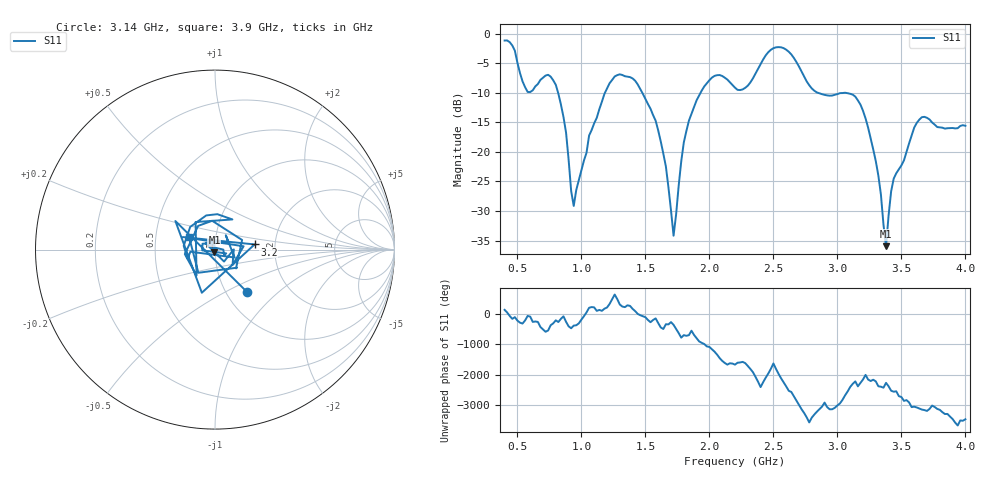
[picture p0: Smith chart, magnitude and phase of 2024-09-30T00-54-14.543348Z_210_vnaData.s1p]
!Created with skrf (http://scikit-rf.org).
# Hz S RI R 50.0
!freq ReS11 ImS11
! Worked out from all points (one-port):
!   181 points, 400 MHz to 4 GHz, reference 50 ohm
!   lowest |S11| = -35.9 dB at 3.38 GHz (marker M1), VSWR 1.03, Z = 49.7 - j1.55 ohm
!   |S11| at or under -10 dB: 817.9 MHz to 1.184 GHz (366.2 MHz wide, 36.6 % of centre); 1.475 GHz to 1.931 GHz (455.6 MHz wide, 26.7 % of centre); 2.846 GHz to end of sweep
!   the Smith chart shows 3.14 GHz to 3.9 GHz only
!   S11 on the Smith chart (normalised r, x): 3.14 GHz: 1.25, -0.64; 3.2 GHz: 1.56, +0.09; 3.9 GHz: 0.74, +0.10
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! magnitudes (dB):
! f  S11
! 400 MHz  -1.2
! 580 MHz  -9.9
! 760 MHz  -7.3
! 860 MHz  -14.1
! 940 MHz  -29.1
! 1.06 GHz  -17.2
! 1.3 GHz  -6.9
! 1.58 GHz  -14.7
! 1.66 GHz  -22.5
! 1.72 GHz  -34.2
! 1.76 GHz  -25.7
! 1.82 GHz  -16.5
! 1.94 GHz  -9.6
! 2.06 GHz  -7.0
! 2.2 GHz  -9.1
! 2.5 GHz  -2.5
! 2.66 GHz  -4.1
! 2.84 GHz  -10.0
! 3.1 GHz  -10.2
! 3.14 GHz  -10.7
! 3.2 GHz  -13.1
! 3.32 GHz  -24.0
! 3.38 GHz  -35.9
! 3.44 GHz  -24.5
! 3.56 GHz  -18.6
! 3.66 GHz  -14.1
! 3.9 GHz  -16.0
! 4 GHz  -15.6
